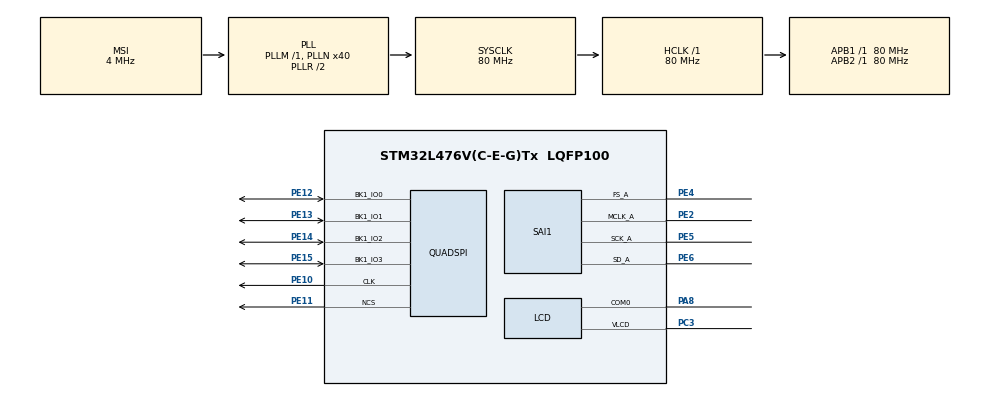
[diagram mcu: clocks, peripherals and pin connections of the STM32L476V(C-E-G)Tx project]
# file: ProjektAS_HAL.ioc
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Dma.Request0=SAI1_A
Dma.SAI1_A.0.Direction=DMA_MEMORY_TO_PERIPH
Dma.SAI1_A.0.Instance=DMA2_Channel1
Dma.SAI1_A.0.MemDataAlignment=DMA_MDATAALIGN_HALFWORD
Dma.SAI1_A.0.MemInc=DMA_MINC_ENABLE
Dma.SAI1_A.0.Mode=DMA_CIRCULAR
Dma.SAI1_A.0.PeriphDataAlignment=DMA_PDATAALIGN_HALFWORD
Dma.SAI1_A.0.PeriphInc=DMA_PINC_DISABLE
Dma.SAI1_A.0.Priority=DMA_PRIORITY_HIGH
Mcu.Family=STM32L4
Mcu.Name=STM32L476V(C-E-G)Tx
Mcu.Package=LQFP100
NVIC.DMA2_Channel1_IRQn=true\:0\:0\:false\:false\:true\:false
NVIC.PriorityGroup=NVIC_PRIORITYGROUP_4
NVIC.QUADSPI_IRQn=true\:0\:0\:false\:false\:true\:true
NVIC.SAI1_IRQn=true\:0\:0\:false\:false\:true\:true
PA8.Mode=Static
PA8.Signal=LCD_COM0
PC3.Mode=Static
PC3.Signal=LCD_VLCD
PE10.Mode=Single Bank
PE10.Signal=QUADSPI_CLK
PE11.Mode=Single Bank
PE11.Signal=QUADSPI_NCS
PE12.Mode=Single Bank
PE12.Signal=QUADSPI_BK1_IO0
PE13.Mode=Single Bank
PE13.Signal=QUADSPI_BK1_IO1
PE14.Mode=Single Bank
PE14.Signal=QUADSPI_BK1_IO2
PE15.Mode=Single Bank
PE15.Signal=QUADSPI_BK1_IO3
PE2.Mode=SAI_A_MasterWithClock
PE2.Signal=SAI1_MCLK_A
PE4.Mode=SAI_A_MasterWithClock
PE4.Signal=SAI1_FS_A
PE5.Mode=SAI_A_MasterWithClock
PE5.Signal=SAI1_SCK_A
PE6.Mode=SAI_A_MasterWithClock
PE6.Signal=SAI1_SD_A
ProjectManager.HeapSize=0x200
ProjectManager.StackSize=0x400
ProjectManager.TargetToolchain=TrueSTUDIO
RCC.ADCFreq_Value=48000000
RCC.AHBFreq_Value=80000000
RCC.APB1Freq_Value=80000000
RCC.APB1TimFreq_Value=80000000
RCC.APB2Freq_Value=80000000
RCC.APB2TimFreq_Value=80000000
RCC.CortexFreq_Value=80000000
RCC.HCLKFreq_Value=80000000
RCC.HSE_VALUE=8000000
RCC.HSI_VALUE=16000000
RCC.LSE_VALUE=32768
RCC.MSI_VALUE=4000000
RCC.PLLN=40
RCC.PLLSAI1N=24
RCC.PLLSAI1P=RCC_PLLP_DIV17
RCC.SYSCLKFreq_VALUE=80000000
RCC.SYSCLKSource=RCC_SYSCLKSOURCE_PLLCLK
RCC.USBFreq_Value=48000000
RCC.VCOOutputFreq_Value=160000000
SAI1.ActiveFrameLength-SAI_A_MasterWithClock=16
SAI1.AudioFrequency-SAI_A_MasterWithClock=SAI_AUDIO_FREQUENCY_22K
SAI1.DataSize-SAI_A_MasterWithClock=SAI_DATASIZE_16
SAI1.ErrorAudioFreq-SAI_A_MasterWithClock=11.6 %
SAI1.FIFOThreshold-SAI_A_MasterWithClock=SAI_FIFOTHRESHOLD_1QF
SAI1.FSDefinition-SAI_A_MasterWithClock=SAI_FS_STARTFRAME
SAI1.FrameLength-SAI_A_MasterWithClock=32
SAI1.Instance-SAI_A_MasterWithClock=SAI$Index_Block_A
SAI1.MClockEnable-SAI_A_MasterWithClock=SAI_MASTERCLOCK_ENABLE
SAI1.OutputDrive-SAI_A_MasterWithClock=SAI_OUTPUTDRIVE_ENABLE
SAI1.RealAudioFreq-SAI_A_MasterWithClock=8.928 KHz
SAI1.SlotActive-SAI_A_MasterWithClock=0x00000003
SAI1.SlotNumber-SAI_A_MasterWithClock=2
SAI1.Synchro-SAI_A_MasterWithClock=SAI_ASYNCHRONOUS
SAI1.VirtualMode-SAI_A_MasterWithClock=VM_MASTER
SAI1.VirtualSlotActive-SAI_A_MasterWithClock=SAI_SLOT_USERSETTING
SAI1.VirtualSlotActive0-SAI_A_MasterWithClock=true
SAI1.VirtualSlotActive1-SAI_A_MasterWithClock=true
board=ProjektAS_HAL

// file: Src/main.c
/**
  ******************************************************************************
  * @file           : main.c
  * @brief          : Main program body
  ******************************************************************************
  ** This notice applies to any and all portions of this file
  * that are not between comment pairs USER CODE BEGIN and
  * USER CODE END. Other portions of this file, whether
  * inserted by the user or by software development tools
  * are owned by their respective copyright owners.
  *
  * COPYRIGHT(c) 2018 STMicroelectronics
  *
  * Redistribution and use in source and binary forms, with or without modification,
  * are permitted provided that the following conditions are met:
  *   1. Redistributions of source code must retain the above copyright notice,
  *      this list of conditions and the following disclaimer.
  *   2. Redistributions in binary form must reproduce the above copyright notice,
  *      this list of conditions and the following disclaimer in the documentation
  *      and/or other materials provided with the distribution.
  *   3. Neither the name of STMicroelectronics nor the names of its contributors
  *      may be used to endorse or promote products derived from this software
  *      without specific prior written permission.
  *
  * THIS SOFTWARE IS PROVIDED BY THE COPYRIGHT HOLDERS AND CONTRIBUTORS "AS IS"
  * AND ANY EXPRESS OR IMPLIED WARRANTIES, INCLUDING, BUT NOT LIMITED TO, THE
  * IMPLIED WARRANTIES OF MERCHANTABILITY AND FITNESS FOR A PARTICULAR PURPOSE ARE
  * DISCLAIMED. IN NO EVENT SHALL THE COPYRIGHT HOLDER OR CONTRIBUTORS BE LIABLE
  * FOR ANY DIRECT, INDIRECT, INCIDENTAL, SPECIAL, EXEMPLARY, OR CONSEQUENTIAL
  * DAMAGES (INCLUDING, BUT NOT LIMITED TO, PROCUREMENT OF SUBSTITUTE GOODS OR
  * SERVICES; LOSS OF USE, DATA, OR PROFITS; OR BUSINESS INTERRUPTION) HOWEVER
  * CAUSED AND ON ANY THEORY OF LIABILITY, WHETHER IN CONTRACT, STRICT LIABILITY,
  * OR TORT (INCLUDING NEGLIGENCE OR OTHERWISE) ARISING IN ANY WAY OUT OF THE USE
  * OF THIS SOFTWARE, EVEN IF ADVISED OF THE POSSIBILITY OF SUCH DAMAGE.
  *
  ******************************************************************************
  */
#include "main.h"
#include "stm32l4xx_hal.h"
#include "dma.h"
#include "sai.h"
#include "gpio.h"
#include "lcd.h"
#include "quadspi.h"
/* USER CODE BEGIN Includes */
#include "cs43l22.h"
#include "stm32l476g_discovery.h"
#include "stm32l476g_discovery_glass_lcd.h"
#include "stm32l476g_discovery_qspi.h"
/* USER CODE END Includes */

/* USER CODE BEGIN PV */
/*////////////////////////////////////////////// UWAGA ////////////////////////////////////////////////////////////////////////
 * 						PRZY PRZEBUDOWYWANIU PROJEKTU W CUBE
 * 						USTAW W SYSTEMCLOCK_CONFIG
 * 						RCC_OscInitStruct.PLL.PLLM = 1;
 *						ZAKOMENTUJ //MX_LCD_INIT();
 *						KOLEJNOSC INICJALIZACJI PERYFERIOW MOZE MIEC ZNACZENIE?
 *
 *
 */
/* Private variables ---------------------------------------------------------*/
//AUDIO-------------------------------------------------------
#define AUDIO_FILE_ADDRESS   0x08080000
#define AUDIO_FILE_SIZE      (180*1024)
#define PLAY_HEADER          0x2C
#define PLAY_BUFF_SIZE       4096
AUDIO_DrvTypeDef* audio_drv;

uint16_t                     PlayBuff[PLAY_BUFF_SIZE];
__IO int16_t                 UpdatePointer = -1;
//QSPI--------------------------------------------------------
#define BUFFER_SIZE         ((uint32_t)0x0200)
#define WRITE_READ_ADDR     ((uint32_t)0x0050)
#define QSPI_BASE_ADDR      ((uint32_t)0x90000000)
uint8_t qspi_aTxBuffer[BUFFER_SIZE];
uint8_t qspi_aRxBuffer[BUFFER_SIZE];

/* USER CODE END PV */

void SystemClock_Config(void);

/* USER CODE BEGIN PFP */
/* Private function prototypes -----------------------------------------------*/
static void codec_init();
static void codec_start();
static void qspi_test();
static void     Fill_Buffer (uint8_t *pBuffer, uint32_t uwBufferLength, uint32_t uwOffset);
static uint8_t  Buffercmp   (uint8_t* pBuffer1, uint8_t* pBuffer2, uint32_t BufferLength);
/* USER CODE END PFP */

int main(void)
{
  /* USER CODE BEGIN 1 */
	uint32_t PlaybackPosition   = PLAY_BUFF_SIZE + PLAY_HEADER;
  /* USER CODE END 1 */

  /* MCU Configuration----------------------------------------------------------*/

  /* Reset of all peripherals, Initializes the Flash interface and the Systick. */
  HAL_Init();

  /* Configure the system clock */
  SystemClock_Config();

  /* Initialize all configured peripherals */
  MX_GPIO_Init();
  MX_DMA_Init();
  MX_SAI1_Init();
  //MX_QUADSPI_Init();
  BSP_LCD_GLASS_Init();
  BSP_LCD_GLASS_DisplayString("elo");
  /* USER CODE BEGIN 2 */

  qspi_test(); //ta funkcja rowniez inicjalizuje bsp_qspi!
  codec_init();

  if(*((uint64_t *)AUDIO_FILE_ADDRESS) != 0x017EFE2446464952 ) Error_Handler();
  for(int i=0; i < PLAY_BUFF_SIZE; i+=2)
   {
     PlayBuff[i]=*((__IO uint16_t *)(AUDIO_FILE_ADDRESS + PLAY_HEADER + i));
   }
  codec_start();
  /* USER CODE END 2 */

  /* Infinite loop */
  /* USER CODE BEGIN WHILE */
   while(1)
	    {
	  //    /* Wait a callback event */
	      while(UpdatePointer==-1);
	  //
	      int position = UpdatePointer;
	      UpdatePointer = -1;
	  //
	      /* Upate the first or the second part of the buffer */
	      for(int i = 0; i < PLAY_BUFF_SIZE/2; i++)
	      {
	        PlayBuff[i+position] = *(uint16_t *)(AUDIO_FILE_ADDRESS + PlaybackPosition);
	        PlaybackPosition+=2;
	      }

	  //    /* check the end of the file */
	      if((PlaybackPosition+PLAY_BUFF_SIZE/2) > AUDIO_FILE_SIZE)
	      {
	        PlaybackPosition = PLAY_HEADER;
	      }

	      if(UpdatePointer != -1)
	      {
	        /* Buffer update time is too long compare to the data transfer time */
	        Error_Handler();
	      }
	    }

}

void SystemClock_Config(void)
{

  RCC_OscInitTypeDef RCC_OscInitStruct;
  RCC_ClkInitTypeDef RCC_ClkInitStruct;
  RCC_PeriphCLKInitTypeDef PeriphClkInit;

    /**Initializes the CPU, AHB and APB busses clocks
    */
  RCC_OscInitStruct.OscillatorType = RCC_OSCILLATORTYPE_MSI;
  RCC_OscInitStruct.MSIState = RCC_MSI_ON;
  RCC_OscInitStruct.MSICalibrationValue = 0;
  RCC_OscInitStruct.MSIClockRange = RCC_MSIRANGE_6;
  RCC_OscInitStruct.PLL.PLLState = RCC_PLL_ON;
  RCC_OscInitStruct.PLL.PLLSource = RCC_PLLSOURCE_MSI;
  RCC_OscInitStruct.PLL.PLLM = 1;
  RCC_OscInitStruct.PLL.PLLN = 40;
  RCC_OscInitStruct.PLL.PLLP = RCC_PLLP_DIV7;
  RCC_OscInitStruct.PLL.PLLQ = RCC_PLLQ_DIV2;
  RCC_OscInitStruct.PLL.PLLR = RCC_PLLR_DIV2;
  if (HAL_RCC_OscConfig(&RCC_OscInitStruct) != HAL_OK)
  {
    _Error_Handler(__FILE__, __LINE__);
  }

    /**Initializes the CPU, AHB and APB busses clocks
    */
  RCC_ClkInitStruct.ClockType = RCC_CLOCKTYPE_HCLK|RCC_CLOCKTYPE_SYSCLK
                              |RCC_CLOCKTYPE_PCLK1|RCC_CLOCKTYPE_PCLK2;
  RCC_ClkInitStruct.SYSCLKSource = RCC_SYSCLKSOURCE_PLLCLK;
  RCC_ClkInitStruct.AHBCLKDivider = RCC_SYSCLK_DIV1;
  RCC_ClkInitStruct.APB1CLKDivider = RCC_HCLK_DIV1;
  RCC_ClkInitStruct.APB2CLKDivider = RCC_HCLK_DIV1;

  if (HAL_RCC_ClockConfig(&RCC_ClkInitStruct, FLASH_LATENCY_4) != HAL_OK)
  {
    _Error_Handler(__FILE__, __LINE__);
  }

  PeriphClkInit.PeriphClockSelection = RCC_PERIPHCLK_SAI1;
  PeriphClkInit.Sai1ClockSelection = RCC_SAI1CLKSOURCE_PLLSAI1;
  PeriphClkInit.PLLSAI1.PLLSAI1Source = RCC_PLLSOURCE_MSI;
  PeriphClkInit.PLLSAI1.PLLSAI1M = 1;
  PeriphClkInit.PLLSAI1.PLLSAI1N = 24;
  PeriphClkInit.PLLSAI1.PLLSAI1P = RCC_PLLP_DIV17;
  PeriphClkInit.PLLSAI1.PLLSAI1Q = RCC_PLLQ_DIV2;
  PeriphClkInit.PLLSAI1.PLLSAI1R = RCC_PLLR_DIV2;
  PeriphClkInit.PLLSAI1.PLLSAI1ClockOut = RCC_PLLSAI1_SAI1CLK;
  if (HAL_RCCEx_PeriphCLKConfig(&PeriphClkInit) != HAL_OK)
  {
    _Error_Handler(__FILE__, __LINE__);
  }

    /**Configure the main internal regulator output voltage
    */
  if (HAL_PWREx_ControlVoltageScaling(PWR_REGULATOR_VOLTAGE_SCALE1) != HAL_OK)
  {
    _Error_Handler(__FILE__, __LINE__);
  }

    /**Configure the Systick interrupt time
    */
  HAL_SYSTICK_Config(HAL_RCC_GetHCLKFreq()/1000);

    /**Configure the Systick
    */
  HAL_SYSTICK_CLKSourceConfig(SYSTICK_CLKSOURCE_HCLK);

  /* SysTick_IRQn interrupt configuration */
  HAL_NVIC_SetPriority(SysTick_IRQn, 0, 0);
}

/* USER CODE BEGIN 4 */

static void Fill_Buffer(uint8_t *pBuffer, uint32_t uwBufferLenght, uint32_t uwOffset)
{
  uint32_t tmpIndex = 0;
  for (tmpIndex = 0; tmpIndex < uwBufferLenght; tmpIndex++ )
    pBuffer[tmpIndex] = tmpIndex + uwOffset;
}

static uint8_t Buffercmp(uint8_t* pBuffer1, uint8_t* pBuffer2, uint32_t BufferLength)
{
  while (BufferLength--)
  {
    if (*pBuffer1 != *pBuffer2)
      return 1;
    pBuffer1++;
    pBuffer2++;
  }
  return 0;
}

void qspi_test(){
	__IO uint8_t *data_ptr;
	uint32_t index;
	BSP_QSPI_Init();
	BSP_QSPI_Erase_Block(WRITE_READ_ADDR);			//wyczysc blok pamieci
	Fill_Buffer(qspi_aTxBuffer, BUFFER_SIZE, 0xD20F);//wypelnij losowa wartoscia
	BSP_QSPI_Write(qspi_aTxBuffer, WRITE_READ_ADDR, BUFFER_SIZE); //wpisz bufor pod wskazany adres
	BSP_QSPI_Read(qspi_aRxBuffer, WRITE_READ_ADDR, BUFFER_SIZE);
	if (Buffercmp(qspi_aRxBuffer, qspi_aTxBuffer, BUFFER_SIZE) > 0)
		BSP_LCD_GLASS_DisplayString("err");
	else
		BSP_LCD_GLASS_DisplayString("OK1");
	BSP_QSPI_EnableMemoryMappedMode();
	for (index = 0, data_ptr = (__IO uint8_t *) (QSPI_BASE_ADDR + WRITE_READ_ADDR); index < BUFFER_SIZE; index++, data_ptr++) {
		if (*data_ptr != qspi_aTxBuffer[index]) {
			BSP_LCD_GLASS_DisplayString("err2");
			break;
		}
	}
	if (index == BUFFER_SIZE)
		BSP_LCD_GLASS_DisplayString("OK2");
}

void codec_init(){
		if (CS43L22_ID != cs43l22_drv.ReadID(AUDIO_I2C_ADDRESS)) {
			Error_Handler();
		}

		audio_drv = &cs43l22_drv;
		audio_drv->Reset(AUDIO_I2C_ADDRESS);
		if (audio_drv->Init(AUDIO_I2C_ADDRESS, OUTPUT_DEVICE_HEADPHONE, 80, AUDIO_FREQUENCY_22K) != 0) {
			Error_Handler();
		}

}
void codec_start(){
	if(0 != audio_drv->Play(AUDIO_I2C_ADDRESS, NULL, 0))
	  {
	    Error_Handler();
	  }
	  if(HAL_OK != HAL_SAI_Transmit_DMA(&hsai_BlockA1, (uint8_t *)PlayBuff, PLAY_BUFF_SIZE))
	  {
	    Error_Handler();
	  }
}
void HAL_SAI_TxCpltCallback(SAI_HandleTypeDef *hsai)
{

  UpdatePointer = PLAY_BUFF_SIZE/2;
}

void HAL_SAI_TxHalfCpltCallback(SAI_HandleTypeDef *hsai)
{

  UpdatePointer = 0;
}
/* USER CODE END 4 */

void _Error_Handler(char *file, int line)
{
  while(1)
  {
  }
}

/************************ (C) COPYRIGHT STMicroelectronics *****END OF FILE****/
